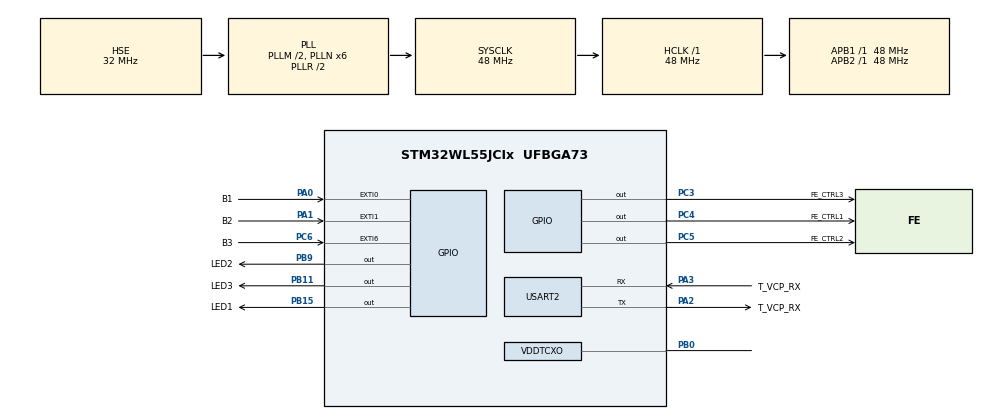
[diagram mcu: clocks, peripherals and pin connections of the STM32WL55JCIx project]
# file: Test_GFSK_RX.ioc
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Mcu.Family=STM32WL
Mcu.Name=STM32WL55JCIx
Mcu.Package=UFBGA73
NVIC.PriorityGroup=NVIC_PRIORITYGROUP_4
NVIC.SUBGHZ_Radio_IRQn=true\:0\:0\:false\:false\:true\:true\:true\:true
NVIC.TIM1_UP_IRQn=true\:0\:0\:false\:false\:true\:true\:true\:true
OSC_IN.Mode=HSE-TCXO
OSC_IN.Signal=RCC_OSC_IN
PA0.GPIO_Label=B1
PA0.GPIO_ModeDefaultEXTI=GPIO_MODE_IT_FALLING
PA0.GPIO_PuPd=GPIO_PULLUP
PA0.Signal=GPXTI0
PA1.GPIO_Label=B2
PA1.GPIO_ModeDefaultEXTI=GPIO_MODE_IT_FALLING
PA1.GPIO_PuPd=GPIO_PULLUP
PA1.Signal=GPXTI1
PA10.Signal=USART1_RX
PA13.Mode=Serial_Wire
PA13.Signal=DEBUG_JTMS-SWDIO
PA14.Mode=Serial_Wire
PA14.Signal=DEBUG_JTCK-SWCLK
PA2.GPIO_Label=T_VCP_RX
PA2.Mode=Asynchronous
PA2.Signal=USART2_TX
PA3.GPIO_Label=T_VCP_RX
PA3.Mode=Asynchronous
PA3.Signal=USART2_RX
PA9.Signal=USART1_TX
PB0-VDD_TCXO.Mode=HSE-TCXO
PB0-VDD_TCXO.Signal=VDDTCXO
PB11.GPIO_Label=LED3
PB11.GPIO_Speed=GPIO_SPEED_FREQ_HIGH
PB11.Signal=GPIO_Output
PB15.GPIO_Label=LED1
PB15.GPIO_Speed=GPIO_SPEED_FREQ_HIGH
PB15.Signal=GPIO_Output
PB9.GPIO_FM9=__NULL
PB9.GPIO_Label=LED2
PB9.GPIO_Speed=GPIO_SPEED_FREQ_HIGH
PB9.Signal=GPIO_Output
PC14-OSC32_IN.Signal=RCC_OSC32_IN
PC15-OSC32_OUT.Signal=RCC_OSC32_OUT
PC3.GPIO_Label=FE_CTRL3
PC3.GPIO_Speed=GPIO_SPEED_FREQ_VERY_HIGH
PC3.Signal=GPIO_Output
PC4.GPIO_Label=FE_CTRL1
PC4.GPIO_Speed=GPIO_SPEED_FREQ_VERY_HIGH
PC4.Signal=GPIO_Output
PC5.GPIO_Label=FE_CTRL2
PC5.GPIO_Speed=GPIO_SPEED_FREQ_VERY_HIGH
PC5.Signal=GPIO_Output
PC6.GPIO_Label=B3
PC6.GPIO_ModeDefaultEXTI=GPIO_MODE_IT_FALLING
PC6.GPIO_PuPd=GPIO_PULLUP
PC6.Signal=GPXTI6
ProjectManager.HeapSize=0x200
ProjectManager.StackSize=0x400
ProjectManager.TargetToolchain=STM32CubeIDE
RCC.AHBFreq_Value=48000000
RCC.APB1Freq_Value=48000000
RCC.APB1TimFreq_Value=48000000
RCC.APB2Freq_Value=48000000
RCC.APB2TimFreq_Value=48000000
RCC.APB3Freq_Value=48000000
RCC.CortexFreq_Value=48000000
RCC.HCLKFreq_Value=48000000
RCC.HSE_VALUE=32000000
RCC.HSI_VALUE=16000000
RCC.LSE_VALUE=32768
RCC.PLLM=RCC_PLLM_DIV2
RCC.PLLN=6
RCC.PLLSourceVirtual=RCC_PLLSOURCE_HSE
RCC.SYSCLKFreq_VALUE=48000000
RCC.SYSCLKSource=RCC_SYSCLKSOURCE_PLLCLK
RCC.VCOOutputFreq_Value=96000000
TIM1.Period=1000-1
TIM1.Prescaler=48-1
TIM2.Period=1000001-1
TIM2.Prescaler=48
USART2.VirtualMode-Asynchronous=VM_ASYNC
VP_ADV_TRACE_VS_ADV_TRACE.Mode=ADV_TRACE_Enabled
VP_MISC_VS_MISC.Mode=MISC_Enabled
VP_SEQUENCER_M4_VS_SEQUENCER.Mode=SEQUENCER_Enabled
VP_SUBGHZ_PHY_VS_SubGhzPhy.Mode=SubGhzPhy_Enabled
VP_SUBGHZ_VS_SUBGHZ.Mode=SUBGHZ_Activate
VP_TIM1_VS_ClockSourceINT.Mode=Internal
VP_TIM2_VS_ClockSourceINT.Mode=Internal
VP_TIMER_VS_TIMER.Mode=TIMER_Enabled
VP_TINY_LPM_VS_TINY_LPM.Mode=TINY_LPM_Enabled
board=NUCLEO-WL55JC2

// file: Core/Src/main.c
/* USER CODE BEGIN Header */
/**
 ******************************************************************************
 * @file           : main.c
 * @brief          : Main program body
 ******************************************************************************
 * @attention
 *
 * Copyright (c) 2024 STMicroelectronics.
 * All rights reserved.
 *
 * This software is licensed under terms that can be found in the LICENSE file
 * in the root directory of this software component.
 * If no LICENSE file comes with this software, it is provided AS-IS.
 *
 ******************************************************************************
 */
/* USER CODE END Header */
#include "main.h"
#include "app_subghz_phy.h"

/* USER CODE BEGIN Includes */
#include "radio_driver.h"
#include "stdio.h"
#include "stdarg.h"
#include "com_debug.h"
/* USER CODE END Includes */

/* USER CODE BEGIN PTD */
#define PAYLOAD_LENGTH (16)

#define FREQ_401_MHZ            (401375000) //DLink
#define FREQ_402_MHZ			(402375000)	//UPLINK

#define PA_DUTY_CYCLE           (0x02)
#define HP_MAX                  (0x02)
#define PA_SEL                  (0x00)

#define POWER                   (0x0E)
#define RAMP_TIME               (0x06)

#define DEMO_DEFAULT_CR            1
#define DEMO_DEFAULT_DE            0
#define DEMO_DEFAULT_BR            1200
#define DEMO_DEFAULT_BT            2
#define DEMO_DEFAULT_FDEV          12500
#define DEMO_DEFAULT_RISE          2
/* USER CODE END PTD */

/* USER CODE BEGIN PD */
PacketParams_t pkt_params;
ModulationParams_t mod_params;
/* USER CODE END PD */

SUBGHZ_HandleTypeDef hsubghz;

TIM_HandleTypeDef htim1;
TIM_HandleTypeDef htim2;

UART_HandleTypeDef huart2;

/* USER CODE BEGIN PV */
uint8_t rx_cmd[PAYLOAD_LENGTH];
uint8_t tx_cmd[PAYLOAD_LENGTH];
uint8_t p_len = PAYLOAD_LENGTH;
uint8_t ack = 0;
uint8_t rssi_value = 0;
uint8_t pkt_id = 0;
uint8_t DATA_SIZE = 14;
uint16_t crc = 0;
uint8_t TX_FLAG = 0;
uint16_t mSEC = 0;
uint8_t sec = 0;
uint8_t min = 0;
uint8_t hour = 0;
/* USER CODE END PV */

void SystemClock_Config(void);
static void MX_GPIO_Init(void);
static void MX_USART2_UART_Init(void);
static void MX_TIM2_Init(void);
static void MX_TIM1_Init(void);
/* USER CODE BEGIN PFP */

uint16_t calc_CRC(const uint8_t *data, uint8_t data_length);
void radioTxData();
void DioIrqHndlr(RadioIrqMasks_t radioIrq);
/* USER CODE END PFP */

/* USER CODE BEGIN 0 */
void HAL_TIM_PeriodElapsedCallback(TIM_HandleTypeDef *htim) {
	if (htim == &htim1) {
		mSEC++;

		if (mSEC > 999) {
			mSEC = 0;
			sec++;
		}

		if (sec > 0) {
			if (sec % 5 == 0) {
				TX_FLAG = 1;
			}
		}

		if (sec > 59) {
			sec = 0;
			min++;
		}

		if (min > 59) {
			min = 0;
			hour++;
		}

		if (hour > 23) {
			hour = 0;
			min = 0;
			sec = 0;
		}
	}
}

uint16_t calc_CRC(const uint8_t *data, uint8_t data_length) {

	uint16_t crcReg = 0xFFFF;	// Initialize the CRC register with 0xFFFF
	uint16_t calc = 0x8408;		// Polynomial for CRC-16
	uint16_t w;
	int i, j;
	uint8_t calc_data[DATA_SIZE];  // in 16 bytes, 14 are data bytes

	// Copy data into calc_data
	for (i = 0; i < data_length; i++) {
		calc_data[i] = data[i];
		// Iterate over each byte of data
		for (j = 0; j < 8; j++) {
			w = (crcReg ^ calc_data[i]) & 0x0001; // XOR the LSB of crcReg with the LSB of calc_data
			crcReg = crcReg >> 1;			// Right-shift the crcReg by 1 bit
			if (w == 1) {
				crcReg = crcReg ^ calc;	// If w is 1, XOR the crcReg with the polynomial
			}
			calc_data[i] = calc_data[i] >> 1;// Right-shift the data byte by 1 bit
		}
	}
	crcReg = crcReg ^ 0xFFFF;						// Final XOR with 0xFFFF
	return crcReg;
}

void radioTxData() {
	tx_cmd[0] = 0x42;
	tx_cmd[1] = 0x4D;

	//getSoilSensorData();
	tx_cmd[2] = 0x01; 		       //gst data (GST ID)
	//tx_cmd[3] = read_soil_value >> 8 & 0xff; 	  //gst DATA (SOIL SENSOR - MSB)
	//tx_cmd[4] = read_soil_value & 0xff;     //gst data (SOIL SENSOR LSB)

	tx_cmd[3] = 0x1A; 	  //gst DATA (SOIL SENSOR - MSB)
	tx_cmd[4] = 0x23;     //gst data (SOIL SENSOR LSB)

	tx_cmd[5] = 0x33;    //gst data
	tx_cmd[6] = 0x44;
	tx_cmd[7] = 0x55;
	tx_cmd[8] = 0x66;
	tx_cmd[9] = 0x77;
	tx_cmd[10] = 0x88;
	tx_cmd[11] = 0x99;
	tx_cmd[12] = 0x38;
	tx_cmd[13] = 0xA7;
	crc = 0;
	crc = calc_CRC(tx_cmd, DATA_SIZE);
	tx_cmd[14] = crc >> 8;
	tx_cmd[15] = crc;
}

/* USER CODE END 0 */

int main(void) {

	/* MCU Configuration--------------------------------------------------------*/

	/* Reset of all peripherals, Initializes the Flash interface and the Systick. */
	HAL_Init();

	/* Configure the system clock */
	SystemClock_Config();

	/* Initialize all configured peripherals */
	MX_GPIO_Init();
	MX_USART2_UART_Init();
	MX_SubGHz_Phy_Init();
	MX_TIM2_Init();
	MX_TIM1_Init();
	/* USER CODE BEGIN 2 */

	HAL_TIM_Base_Start(&htim2);

	pkt_params.PacketType = PACKET_TYPE_GFSK;
	pkt_params.Params.Gfsk.PayloadLength = PAYLOAD_LENGTH;
	pkt_params.Params.Gfsk.PreambleLength = 8; /*Convert byte into bit*/
	pkt_params.Params.Gfsk.PreambleMinDetect = RADIO_PREAMBLE_DETECTOR_08_BITS;
	pkt_params.Params.Gfsk.SyncWordLength = 3 << 3; // convert byte into bit
	pkt_params.Params.Gfsk.AddrComp = RADIO_ADDRESSCOMP_FILT_OFF;
	pkt_params.Params.Gfsk.HeaderType = RADIO_PACKET_FIXED_LENGTH;
	pkt_params.Params.Gfsk.CrcLength = RADIO_CRC_2_BYTES_CCIT;
	pkt_params.Params.Gfsk.DcFree = RADIO_DC_FREEWHITENING;

	mod_params.PacketType = PACKET_TYPE_GFSK;
	mod_params.Params.Gfsk.Bandwidth = RX_BW_29300; /*Not used in TX*/
	mod_params.Params.Gfsk.BitRate = DEMO_DEFAULT_BR;
	mod_params.Params.Gfsk.Fdev = DEMO_DEFAULT_FDEV;
	mod_params.Params.Gfsk.ModulationShaping = MOD_SHAPING_G_BT_1;

	SUBGRF_Init(DioIrqHndlr);
	SUBGRF_SetBufferBaseAddress(0x00, 0x00);
	SUBGRF_SetPayload(tx_cmd, PAYLOAD_LENGTH);
	SUBGRF_SetPacketParams(&pkt_params);
	SUBGRF_SetSyncWord(( uint8_t[] ) { 0xC1, 0x94, 0xC1, 0x00, 0x00, 0x00, 0x00,
					0x00 });
	SUBGRF_SetWhiteningSeed(0x01FF);
	SUBGRF_SetRfFrequency(FREQ_402_MHZ);
	SUBGRF_SetPaConfig(PA_DUTY_CYCLE, HP_MAX, PA_SEL, 0x01);
	//SUBGRF_SetTxParams(RFO_HP, POWER, RAMP_TIME);
	SUBGRF_SetTxParams(RFO_LP, POWER, RAMP_TIME);
	SUBGRF_SetModulationParams(&mod_params);
	SUBGRF_SetDioIrqParams(
			IRQ_TX_DONE | IRQ_PREAMBLE_DETECTED | IRQ_RX_DONE
					| IRQ_RX_TX_TIMEOUT | IRQ_SYNCWORD_VALID,
			IRQ_TX_DONE | IRQ_PREAMBLE_DETECTED | IRQ_RX_DONE
					| IRQ_RX_TX_TIMEOUT | IRQ_SYNCWORD_VALID, IRQ_RADIO_NONE,
			IRQ_RADIO_NONE);

	myPrintf("\n########## Test code: BEGIN ##########\r\n");
	myPrintf("\n########## Receive and Transmits ##########\r\n");
	myPrintf("########## Low Power Radio Receiver: 	##########\r\n");
	myPrintf("########## COMMUNICATION PARAMETERS: 		##########\r\n");
	myPrintf("Modulation: GFSK PACKET\r\n");
	myPrintf("FREQUENCY MODS: UPLINK FREQ: %lu\r\n    DOWNLINK FREQ: %lu\r\n",
	FREQ_402_MHZ, FREQ_401_MHZ);
	myPrintf(
			"POWER CONFIG:\r\n    PA_DUTY_CYCLE : %x,    HP_MAX: %x,\n\r    PA_SEL : %x,    POWER TX: %u dBm\n\r",
			PA_DUTY_CYCLE, HP_MAX, PA_SEL, POWER);
	myPrintf("RECEVING BANDWIDTH: 	%d\n\r", mod_params.Params.Gfsk.Bandwidth);
	myPrintf("Packet Type: 			%d\n\r", pkt_params.PacketType);
	myPrintf("PayloadLength: 		%d\n\r", pkt_params.Params.Gfsk.PayloadLength);
	myPrintf("PreambleLength: 		%d\n\r", pkt_params.Params.Gfsk.PreambleLength);
	myPrintf("HeaderType: 			%d\n\r", pkt_params.Params.Gfsk.HeaderType);
	myPrintf(
			"--------   If this message pop up then wait to receive   --------\r\n");
	myPrintf("__________________________________________________\r\n");
	SUBGRF_SetRfFrequency(FREQ_402_MHZ);
	SUBGRF_SetSwitch(RFO_LP, RFSWITCH_RX); /*Set RF switch*/
	SUBGRF_SetRxBoosted(0xFFFFFF);

	HAL_GPIO_WritePin(GPIOB, LED1_Pin, GPIO_PIN_SET);
	delay_us(1000000);  // 500ms delay
	HAL_GPIO_WritePin(GPIOB, LED1_Pin, GPIO_PIN_RESET);
	delay_us(1000000);
	/* USER CODE END 2 */

	/* Infinite loop */
	/* USER CODE BEGIN WHILE */
	while (1) {
		HAL_GPIO_WritePin(GPIOB, LED1_Pin, GPIO_PIN_RESET);
		delay_us(1000000);
		HAL_GPIO_WritePin(GPIOB, LED1_Pin, GPIO_PIN_SET);
		delay_us(1000000);

		if (TX_FLAG) {
			radioTxData();
			SUBGRF_SetRfFrequency(FREQ_401_MHZ);
			SUBGRF_SetSwitch(RFO_LP, RFSWITCH_TX); /*Set RF switch*/
			SUBGRF_SendPayload(tx_cmd, 16, 0);
		}

		/* USER CODE END WHILE */
		MX_SubGHz_Phy_Process();

	}
}

void SystemClock_Config(void) {
	RCC_OscInitTypeDef RCC_OscInitStruct = { 0 };
	RCC_ClkInitTypeDef RCC_ClkInitStruct = { 0 };

	/** Configure the main internal regulator output voltage
	 */
	__HAL_PWR_VOLTAGESCALING_CONFIG(PWR_REGULATOR_VOLTAGE_SCALE1);

	/** Initializes the CPU, AHB and APB buses clocks
	 */
	RCC_OscInitStruct.OscillatorType = RCC_OSCILLATORTYPE_HSE;
	RCC_OscInitStruct.HSEState = RCC_HSE_BYPASS_PWR;
	RCC_OscInitStruct.HSEDiv = RCC_HSE_DIV1;
	RCC_OscInitStruct.PLL.PLLState = RCC_PLL_ON;
	RCC_OscInitStruct.PLL.PLLSource = RCC_PLLSOURCE_HSE;
	RCC_OscInitStruct.PLL.PLLM = RCC_PLLM_DIV2;
	RCC_OscInitStruct.PLL.PLLN = 6;
	RCC_OscInitStruct.PLL.PLLP = RCC_PLLP_DIV2;
	RCC_OscInitStruct.PLL.PLLR = RCC_PLLR_DIV2;
	RCC_OscInitStruct.PLL.PLLQ = RCC_PLLQ_DIV2;
	if (HAL_RCC_OscConfig(&RCC_OscInitStruct) != HAL_OK) {
		Error_Handler();
	}

	/** Configure the SYSCLKSource, HCLK, PCLK1 and PCLK2 clocks dividers
	 */
	RCC_ClkInitStruct.ClockType = RCC_CLOCKTYPE_HCLK3 | RCC_CLOCKTYPE_HCLK
			| RCC_CLOCKTYPE_SYSCLK | RCC_CLOCKTYPE_PCLK1 | RCC_CLOCKTYPE_PCLK2;
	RCC_ClkInitStruct.SYSCLKSource = RCC_SYSCLKSOURCE_PLLCLK;
	RCC_ClkInitStruct.AHBCLKDivider = RCC_SYSCLK_DIV1;
	RCC_ClkInitStruct.APB1CLKDivider = RCC_HCLK_DIV1;
	RCC_ClkInitStruct.APB2CLKDivider = RCC_HCLK_DIV1;
	RCC_ClkInitStruct.AHBCLK3Divider = RCC_SYSCLK_DIV1;

	if (HAL_RCC_ClockConfig(&RCC_ClkInitStruct, FLASH_LATENCY_2) != HAL_OK) {
		Error_Handler();
	}
}

void MX_SUBGHZ_Init(void) {

	hsubghz.Init.BaudratePrescaler = SUBGHZSPI_BAUDRATEPRESCALER_8;
	if (HAL_SUBGHZ_Init(&hsubghz) != HAL_OK) {
		Error_Handler();
	}

}

static void MX_TIM1_Init(void) {

	TIM_ClockConfigTypeDef sClockSourceConfig = { 0 };
	TIM_MasterConfigTypeDef sMasterConfig = { 0 };

	htim1.Instance = TIM1;
	htim1.Init.Prescaler = 48 - 1;
	htim1.Init.CounterMode = TIM_COUNTERMODE_UP;
	htim1.Init.Period = 1000 - 1;
	htim1.Init.ClockDivision = TIM_CLOCKDIVISION_DIV1;
	htim1.Init.RepetitionCounter = 0;
	htim1.Init.AutoReloadPreload = TIM_AUTORELOAD_PRELOAD_DISABLE;
	if (HAL_TIM_Base_Init(&htim1) != HAL_OK) {
		Error_Handler();
	}
	sClockSourceConfig.ClockSource = TIM_CLOCKSOURCE_INTERNAL;
	if (HAL_TIM_ConfigClockSource(&htim1, &sClockSourceConfig) != HAL_OK) {
		Error_Handler();
	}
	sMasterConfig.MasterOutputTrigger = TIM_TRGO_RESET;
	sMasterConfig.MasterOutputTrigger2 = TIM_TRGO2_RESET;
	sMasterConfig.MasterSlaveMode = TIM_MASTERSLAVEMODE_DISABLE;
	if (HAL_TIMEx_MasterConfigSynchronization(&htim1, &sMasterConfig)
			!= HAL_OK) {
		Error_Handler();
	}

}

static void MX_TIM2_Init(void) {

	TIM_ClockConfigTypeDef sClockSourceConfig = { 0 };
	TIM_MasterConfigTypeDef sMasterConfig = { 0 };

	htim2.Instance = TIM2;
	htim2.Init.Prescaler = 48 - 1;
	htim2.Init.CounterMode = TIM_COUNTERMODE_UP;
	htim2.Init.Period = 1000001 - 1;
	htim2.Init.ClockDivision = TIM_CLOCKDIVISION_DIV1;
	htim2.Init.AutoReloadPreload = TIM_AUTORELOAD_PRELOAD_DISABLE;
	if (HAL_TIM_Base_Init(&htim2) != HAL_OK) {
		Error_Handler();
	}
	sClockSourceConfig.ClockSource = TIM_CLOCKSOURCE_INTERNAL;
	if (HAL_TIM_ConfigClockSource(&htim2, &sClockSourceConfig) != HAL_OK) {
		Error_Handler();
	}
	sMasterConfig.MasterOutputTrigger = TIM_TRGO_RESET;
	sMasterConfig.MasterSlaveMode = TIM_MASTERSLAVEMODE_DISABLE;
	if (HAL_TIMEx_MasterConfigSynchronization(&htim2, &sMasterConfig)
			!= HAL_OK) {
		Error_Handler();
	}

}

static void MX_USART2_UART_Init(void) {

	huart2.Instance = USART2;
	huart2.Init.BaudRate = 115200;
	huart2.Init.WordLength = UART_WORDLENGTH_8B;
	huart2.Init.StopBits = UART_STOPBITS_1;
	huart2.Init.Parity = UART_PARITY_NONE;
	huart2.Init.Mode = UART_MODE_TX_RX;
	huart2.Init.HwFlowCtl = UART_HWCONTROL_NONE;
	huart2.Init.OverSampling = UART_OVERSAMPLING_16;
	huart2.Init.OneBitSampling = UART_ONE_BIT_SAMPLE_DISABLE;
	huart2.Init.ClockPrescaler = UART_PRESCALER_DIV1;
	huart2.AdvancedInit.AdvFeatureInit = UART_ADVFEATURE_NO_INIT;
	if (HAL_UART_Init(&huart2) != HAL_OK) {
		Error_Handler();
	}
	if (HAL_UARTEx_SetTxFifoThreshold(&huart2, UART_TXFIFO_THRESHOLD_1_8)
			!= HAL_OK) {
		Error_Handler();
	}
	if (HAL_UARTEx_SetRxFifoThreshold(&huart2, UART_RXFIFO_THRESHOLD_1_8)
			!= HAL_OK) {
		Error_Handler();
	}
	if (HAL_UARTEx_DisableFifoMode(&huart2) != HAL_OK) {
		Error_Handler();
	}

}

static void MX_GPIO_Init(void) {
	GPIO_InitTypeDef GPIO_InitStruct = { 0 };

	/* GPIO Ports Clock Enable */
	__HAL_RCC_GPIOA_CLK_ENABLE();
	__HAL_RCC_GPIOB_CLK_ENABLE();
	__HAL_RCC_GPIOC_CLK_ENABLE();

	/*Configure GPIO pin Output Level */
	HAL_GPIO_WritePin(GPIOB, LED1_Pin | LED2_Pin | LED3_Pin, GPIO_PIN_RESET);

	/*Configure GPIO pin Output Level */
	HAL_GPIO_WritePin(GPIOC, FE_CTRL3_Pin | FE_CTRL2_Pin | FE_CTRL1_Pin,
			GPIO_PIN_RESET);

	/*Configure GPIO pins : LED1_Pin LED2_Pin LED3_Pin */
	GPIO_InitStruct.Pin = LED1_Pin | LED2_Pin | LED3_Pin;
	GPIO_InitStruct.Mode = GPIO_MODE_OUTPUT_PP;
	GPIO_InitStruct.Pull = GPIO_NOPULL;
	GPIO_InitStruct.Speed = GPIO_SPEED_FREQ_HIGH;
	HAL_GPIO_Init(GPIOB, &GPIO_InitStruct);

	/*Configure GPIO pins : FE_CTRL3_Pin FE_CTRL2_Pin FE_CTRL1_Pin */
	GPIO_InitStruct.Pin = FE_CTRL3_Pin | FE_CTRL2_Pin | FE_CTRL1_Pin;
	GPIO_InitStruct.Mode = GPIO_MODE_OUTPUT_PP;
	GPIO_InitStruct.Pull = GPIO_NOPULL;
	GPIO_InitStruct.Speed = GPIO_SPEED_FREQ_VERY_HIGH;
	HAL_GPIO_Init(GPIOC, &GPIO_InitStruct);

	/*Configure GPIO pins : B1_Pin B2_Pin */
	GPIO_InitStruct.Pin = B1_Pin | B2_Pin;
	GPIO_InitStruct.Mode = GPIO_MODE_IT_FALLING;
	GPIO_InitStruct.Pull = GPIO_PULLUP;
	HAL_GPIO_Init(GPIOA, &GPIO_InitStruct);

	/*Configure GPIO pin : B3_Pin */
	GPIO_InitStruct.Pin = B3_Pin;
	GPIO_InitStruct.Mode = GPIO_MODE_IT_FALLING;
	GPIO_InitStruct.Pull = GPIO_PULLUP;
	HAL_GPIO_Init(B3_GPIO_Port, &GPIO_InitStruct);

}

/* USER CODE BEGIN 4 */
void DioIrqHndlr(RadioIrqMasks_t radioIrq) {
	if (radioIrq == IRQ_RX_DONE) {
		pkt_id++;
		SUBGRF_GetPayload(rx_cmd, &p_len, PAYLOAD_LENGTH);
		rssi_value = SUBGRF_GetRssiInst();
		myPrintf("\nGFSK Received\r\n");
		for (int i = 0; i < sizeof(rx_cmd); i++) {
			myPrintf(" %x", rx_cmd[i]);
		}
		myPrintf("\r\n");

		if (pkt_id > 5) {
			pkt_id = 0;
			HAL_TIM_Base_Start_IT(&htim1);
			myPrintf(
					"\n########## Received Data Successful, now transmitting data ##########\r\n");
			myPrintf("########## Low Power Radio: 	##########\r\n");
			myPrintf("########## COMMUNICATION PARAMETERS: 		##########\r\n");
			myPrintf("Modulation: GFSK PACKET\r\n");
			myPrintf(
					"FREQUENCY MODS: UPLINK FREQ: %lu\r\n    DOWNLINK FREQ: %lu\r\n",
					FREQ_402_MHZ, FREQ_401_MHZ);
			myPrintf(
					"POWER CONFIG:\r\n    PA_DUTY_CYCLE : %x,    HP_MAX: %x,\n\r    PA_SEL : %x,    POWER TX: %u dBm\n\r",
					PA_DUTY_CYCLE, HP_MAX, PA_SEL, POWER);
			myPrintf("RECEVING BANDWIDTH: 	%d\n\r",
					mod_params.Params.Gfsk.Bandwidth);
			myPrintf("Packet Type: 			%d\n\r", pkt_params.PacketType);
			myPrintf("PayloadLength: 		%d\n\r",
					pkt_params.Params.Gfsk.PayloadLength);
			myPrintf("PreambleLength: 		%d\n\r",
					pkt_params.Params.Gfsk.PreambleLength);
			myPrintf("HeaderType: 			%d\n\r",
					pkt_params.Params.Gfsk.HeaderType);

			myPrintf(
					"If this message pop up then track in other NucleoWL55JC2 Receiver\r\n");
			myPrintf("------------- Wait for Test Complete --------------\r\n");
			myPrintf("__________________________________________________\r\n");
			myPrintf("The Transmitter will transmits packets now. \r\n");
		}
	} else if (radioIrq == IRQ_TX_DONE) {
		TX_FLAG = 0;
		myPrintf("\n\r Test Command Transmitted Successful:  \r");
		for (int i = 0; i < 16; i++) {
			myPrintf(" %02x", tx_cmd[i]);
		}
		myPrintf("\n\n");
		pkt_id++;
		if (pkt_id > 5) {
			HAL_TIM_Base_Stop(&htim1);
			myPrintf("\n\r Testing,Receive and Transmit done.  \r\n");
			myPrintf("\n########## Receive and Transmits ##########\r\n");
			myPrintf("########## Low Power Radio Receiver: 	##########\r\n");
			myPrintf("########## COMMUNICATION PARAMETERS: 		##########\r\n");
			myPrintf("Modulation: GFSK PACKET\r\n");
			myPrintf(
					"FREQUENCY MODS: UPLINK FREQ: %lu\r\n    DOWNLINK FREQ: %lu\r\n",
					FREQ_402_MHZ, FREQ_401_MHZ);
			myPrintf(
					"POWER CONFIG:\r\n    PA_DUTY_CYCLE : %x,    HP_MAX: %x,\n\r    PA_SEL : %x,    POWER TX: %u dBm\n\r",
					PA_DUTY_CYCLE, HP_MAX, PA_SEL, POWER);
			myPrintf("RECEVING BANDWIDTH: 	%d\n\r",
					mod_params.Params.Gfsk.Bandwidth);
			myPrintf("Packet Type: 			%d\n\r", pkt_params.PacketType);
			myPrintf("PayloadLength: 		%d\n\r",
					pkt_params.Params.Gfsk.PayloadLength);
			myPrintf("PreambleLength: 		%d\n\r",
					pkt_params.Params.Gfsk.PreambleLength);
			myPrintf("HeaderType: 			%d\n\r",
					pkt_params.Params.Gfsk.HeaderType);
			myPrintf(
					"--------   If this message pop up then wait to receive   --------\r\n");
			myPrintf("__________________________________________________\r\n");
			SUBGRF_SetRfFrequency(FREQ_402_MHZ);
			SUBGRF_SetSwitch(RFO_LP, RFSWITCH_RX); /*Set RF switch*/
			SUBGRF_SetRxBoosted(0xFFFFFF);

			HAL_GPIO_WritePin(GPIOB, LED1_Pin, GPIO_PIN_SET);
			delay_us(1000000);  // 500ms delay
			HAL_GPIO_WritePin(GPIOB, LED1_Pin, GPIO_PIN_RESET);
			delay_us(1000000);
			pkt_id = 0;
		}
	}
}
/* USER CODE END 4 */

void Error_Handler(void) {
	__disable_irq();
	while (1) {
	}
}
